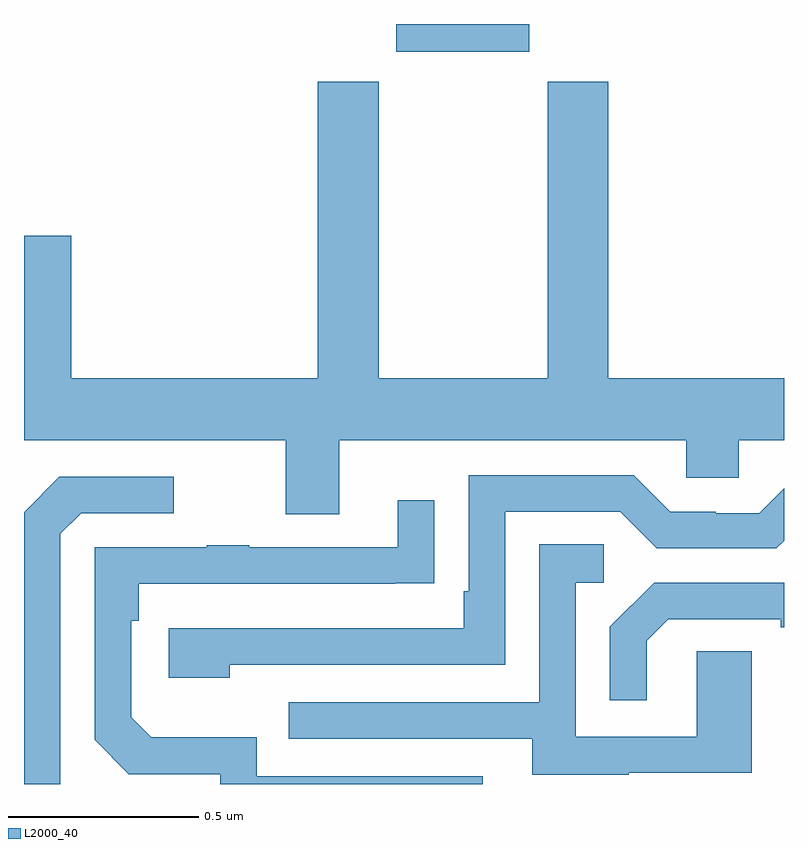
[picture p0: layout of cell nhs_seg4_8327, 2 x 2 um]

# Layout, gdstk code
import gdstk
lib = gdstk.Library(unit=1e-6, precision=1e-09)
def R(c, l, rs):  # rectangles x0, y0, x1, y1
    for r in rs: c.add(gdstk.rectangle(r[:2], r[2:], *l))
def P(c, l, *ps):  # polygons
    for p in ps: c.add(gdstk.Polygon(p, *l))
L2000_40 = (2000, 40)

nhs_seg4_8327 = lib.new_cell('nhs_seg4_8327')
R(nhs_seg4_8327, L2000_40, [(213.98,813.827,214.33,813.9)])
P(nhs_seg4_8327, L2000_40, [(213.829,812.804),(214.743,812.804),(214.743,812.706),(214.881,812.706),(214.881,812.804),(215,812.804),(215,812.968),(214.538,812.968),(214.538,813.748),(214.378,813.748),(214.378,812.968),(213.933,812.968),(213.933,813.748),(213.773,813.748),(213.773,812.968),(213.124,812.968),(213.124,813.343),(213,813.343),(213,812.804),(213.689,812.804),(213.689,812.61),(213.829,812.61)],
  [(213.542,812.214),(214.266,812.214),(214.266,812.616),(214.569,812.616),(214.665,812.52),(214.98,812.52),(215,812.54),(215,812.678),(214.935,812.613),(214.82,812.613),(214.82,812.616),(214.701,812.616),(214.605,812.712),(214.17,812.712),(214.17,812.407),(214.157,812.407),(214.157,812.31),(213.381,812.31),(213.381,812.18),(213.542,812.18)],
  [(213.096,812.559),(213.15,812.613),(213.394,812.613),(213.394,812.709),(213.093,812.709),(213,812.615),(213,811.9),(213.096,811.9)],
  [(214.207,811.92),(213.612,811.92),(213.612,812.023),(213.335,812.023),(213.282,812.076),(213.282,812.33),(213.302,812.33),(213.302,812.427),(213.977,812.427),(213.977,812.428),(214.079,812.428),(214.079,812.647),(213.983,812.647),(213.983,812.523),(213.593,812.523),(213.593,812.528),(213.481,812.528),(213.481,812.523),(213.186,812.523),(213.186,812.016),(213.276,811.926),(213.516,811.926),(213.516,811.9),(214.207,811.9)],
  [(214.591,811.929),(214.915,811.929),(214.915,812.249),(214.77,812.249),(214.77,812.025),(214.452,812.025),(214.452,812.43),(214.525,812.43),(214.525,812.531),(214.356,812.531),(214.356,812.115),(213.697,812.115),(213.697,812.019),(214.337,812.019),(214.337,811.925),(214.591,811.925)],
  [(214.639,812.277),(214.696,812.334),(214.991,812.334),(214.991,812.312),(215,812.312),(215,812.43),(214.658,812.43),(214.542,812.314),(214.542,812.121),(214.639,812.121)])

lib.write_gds('nhs_seg4_8327.gds')
